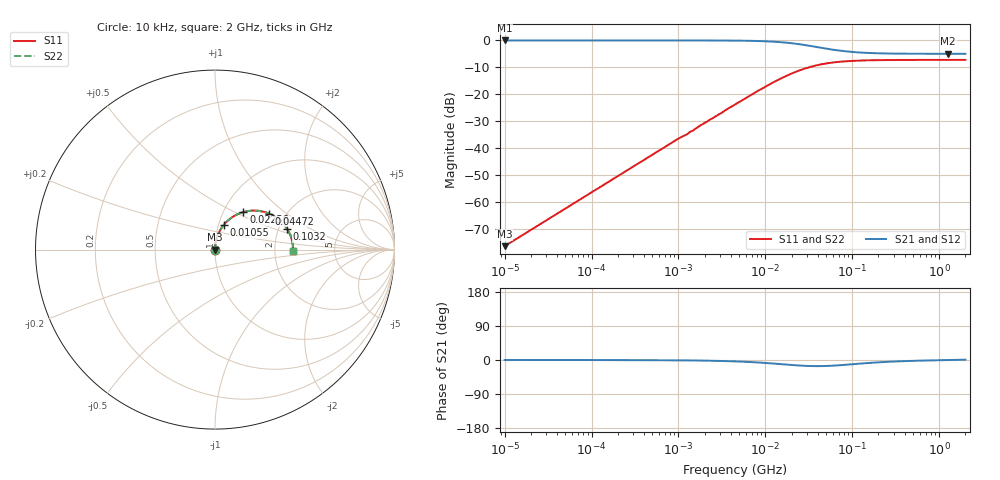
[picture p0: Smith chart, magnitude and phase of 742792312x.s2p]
! PART_NUMBER: 742792312
! NOM_L= 0.0H
! IMAX= 3.0A
! MAKE: wUERTH ELEKTRONIK
! DIM: 1210
! SRF:
! SMD-Ferrit WE-CBF
! DATASHEET: 742792312.pdf
# MHz  S  MA  R 50
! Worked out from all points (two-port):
!   103 points, 10 kHz to 2 GHz, reference 50 ohm
!   highest |S21| = 0.00 dB at 10 kHz (marker M1); lowest = -5.0 dB at 1.268 GHz (marker M2)
!   |S21| within 3 dB of the highest: start of sweep to 49.35 MHz
!   lowest |S11| = -76.5 dB at 10 kHz (marker M3), VSWR 1.00, Z = 50 + j0.015 ohm
!   |S11| at or under -10 dB: start of sweep to 31.65 MHz
!   |S22| runs from -76.5 to -7.2 dB; largest |S21 - S12| = 0
!   S11 on the Smith chart (normalised r, x): 10 kHz: 1.00, +0.00; 10.55 MHz: 1.06, +0.30; 22.56 MHz: 1.24, +0.56; 44.72 MHz: 1.64, +0.76; 103.2 MHz: 2.22, +0.62; 2 GHz: 2.54, -0.05
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0.01  0.00015 90.0  1 -0.0  1 -0.0  0.00015 90.0
0.1  0.0015 89.8  1 -0.1  1 -0.1  0.0015 89.8
1  0.015 88.1  1 -0.8  1 -0.8  0.015 88.1
1.256119  0.018 87.6  0.999 -1.0  0.999 -1.0  0.018 87.6
1.355318  0.02 87.4  0.999 -1.1  0.999 -1.1  0.02 87.4
1.462351  0.021 87.2  0.999 -1.2  0.999 -1.2  0.021 87.2
2.307349  0.034 85.6  0.998 -1.9  0.998 -1.9  0.034 85.6
2.489566  0.036 85.2  0.998 -2.1  0.998 -2.1  0.036 85.2
4.573051  0.066 81.3  0.992 -3.8  0.992 -3.8  0.066 81.3
6.687403  0.095 77.4  0.984 -5.4  0.984 -5.4  0.095 77.4
10.55162  0.145 70.5  0.961 -8.2  0.961 -8.2  0.145 70.5
16.64873  0.212 60.8  0.916 -11.7  0.916 -11.7  0.212 60.8
22.56432  0.262 52.9  0.867 -14.0  0.867 -14.0  0.262 52.9
28.34348  0.3 46.5  0.823 -15.3  0.823 -15.3  0.3 46.5
35.6028  0.333 40.0  0.775 -16.1  0.775 -16.1  0.333 40.0
44.72136  0.362 33.7  0.727 -16.0  0.727 -16.0  0.362 33.7
65.39831  0.396 24.5  0.66 -14.4  0.66 -14.4  0.396 24.5
103.1878  0.418 16.0  0.609 -10.9  0.609 -10.9  0.418 16.0
162.8134  0.428 10.2  0.584 -7.5  0.584 -7.5  0.428 10.2
277.1802  0.433 5.9  0.571 -4.5  0.571 -4.5  0.433 5.9
1267.559  0.435 0.1  0.565 -0.1  0.565 -0.1  0.435 0.1
2000  0.435 -1.1  0.565 0.8  0.565 0.8  0.435 -1.1
